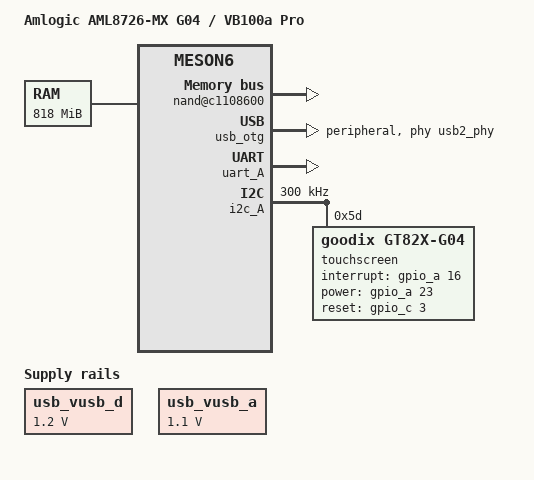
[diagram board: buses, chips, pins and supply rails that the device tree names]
/dts-v1/;

/include/ "meson6.dtsi"

/ {
	model = "Amlogic AML8726-MX G04 / VB100a Pro";
	compatible = "ddev-io,meson6-g04", "amlogic,meson6";

	aliases {
		serial0 = &uart_A;
		display0 = &framebuffer0;
	};


	/* Supplies are already enabled by the boot loader; these fixed
	 * regulators give the generic DWC2 gadget driver its named rails. */
	usb_vusb_d: regulator-usb-d {
		compatible = "regulator-fixed";
		regulator-name = "vusb_d";
		regulator-min-microvolt = <1200000>;
		regulator-max-microvolt = <1200000>;
		regulator-always-on;
	};

	usb_vusb_a: regulator-usb-a {
		compatible = "regulator-fixed";
		regulator-name = "vusb_a";
		regulator-min-microvolt = <1100000>;
		regulator-max-microvolt = <1100000>;
		regulator-always-on;
	};

	memory {
		device_type = "memory";
		/*
		 * The vendor G04 video/reserved window remains outside Linux RAM.
		 * Recovery does not register the vendor deinterlace device, so its
		 * first MiB at 0x8a300000 is used for the diagnostic ram_console.
		 */
		reg = <0x80000000 0x04000000>,
		      <0x90d00000 0x0f200000>,
		      <0xa0000000 0x20000000>;
	};

	ram_console: ram-console@8a300000 {
		compatible = "google,ram-console";
		reg = <0x8a300000 0x00100000>;
	};

	chosen {
		stdout-path = &uart_A;
		bootargs = "console=ttyAML0,115200n8 earlyprintk";

		/* U-Boot/vendor VPU keeps scanning this OSD1 buffer. */
		framebuffer0: framebuffer@84100000 {
			compatible = "simple-framebuffer";
			reg = <0x84100000 0x00800000>;
			width = <1280>;
			height = <800>;
			stride = <5120>;
			format = "a8b8g8r8";
		};
	};

	soc {
		usb2_phy: phy@c1108400 {
			compatible = "amlogic,meson6-usb2-phy";
			reg = <0xc1108400 0x20>,
			      <0xc1104408 0x4>,
			      <0xc1104144 0x4>,
			      <0xc1104148 0x4>;
			reg-names = "phy", "reset", "gclk1", "gclk2";
			#phy-cells = <0>;
		};

		nand@c1108600 {
			compatible = "amlogic,meson6-nand-g04";
			reg = <0xc1108600 0x30>;
			status = "okay";
		};

		usb_otg: usb@c9040000 {
			compatible = "amlogic,meson6-usb", "snps,dwc2";
			reg = <0xc9040000 0x40000>;
			interrupts = <0 30 1>;
			clocks = <&clk81>;
			clock-names = "otg";
			phys = <&usb2_phy>;
			phy-names = "usb2-phy";
			vusb_d-supply = <&usb_vusb_d>;
			vusb_a-supply = <&usb_vusb_a>;
			dr_mode = "peripheral";
			status = "okay";
		};

		g04_pinmux: pinmux@c11080b0 {
			compatible = "pinctrl-single";
			reg = <0xc11080b0 0x20>;
			pinctrl-single,register-width = <32>;
			pinctrl-single,function-mask = <1>;
			pinctrl-single,bit-per-mux;

			i2c_a_pins: i2c-a-pins {
				/* PERIPHS_PIN_MUX_5[27:26] selects I2C A. */
				pinctrl-single,bits = <0x14 0x0c000000 0x0c000000>;
			};

			gpio_a_touch_pins: gpio-a-touch-pins {
				/* GPIOA_16: MUX0[6], MUX7[4]; GPIOA_23: MUX0[6], MUX7[11]. */
				pinctrl-single,bits = <0x00 0x00000000 0x00000040>,
						      <0x1c 0x00000000 0x00000810>;
			};

			gpio_c_touch_pins: gpio-c-touch-pins {
				/* GPIOC_3: PERIPHS_PIN_MUX_0[13] and _1[8]. */
				pinctrl-single,bits = <0x00 0x00000000 0x00002000>,
						      <0x04 0x00000000 0x00000100>;
			};
		};

		gpio_a: gpio@c1108030 {
			compatible = "amlogic,meson6-gpio";
			reg = <0xc1108030 0x4>,
			      <0xc1108034 0x4>,
			      <0xc1108038 0x4>,
			      <0xc1109880 0x10>;
			gpio-controller;
			#gpio-cells = <2>;
			ngpios = <28>;
			pinctrl-names = "default";
			pinctrl-0 = <&gpio_a_touch_pins>;

			/* Route GPIOA_16 (vendor selector 170) through slot 0. */
			amlogic,irq-slot = <0>;
			amlogic,irq-selector = <170>;
			amlogic,irq-trigger = <3>;
			amlogic,irq-filter = <7>;
		};

		gpio_c: gpio@c1108048 {
			compatible = "amlogic,meson6-gpio";
			reg = <0xc1108048 0x4>,
			      <0xc110804c 0x4>,
			      <0xc1108050 0x4>;
			gpio-controller;
			#gpio-cells = <2>;
			ngpios = <15>;
			pinctrl-names = "default";
			pinctrl-0 = <&gpio_c_touch_pins>;
		};
	};
};

&uart_A {
	status = "okay";
};

&i2c_A {
	clock-frequency = <300000>;
	pinctrl-names = "default";
	pinctrl-0 = <&i2c_a_pins>;
	status = "okay";

	touchscreen@5d {
		compatible = "goodix,gt82x-g04";
		reg = <0x5d>;
		interrupt-parent = <&gic>;
		interrupts = <0 64 1>;
		interrupt-gpios = <&gpio_a 16 0>;
		power-gpios = <&gpio_a 23 0>;
		reset-gpios = <&gpio_c 3 0>;
	};
};
